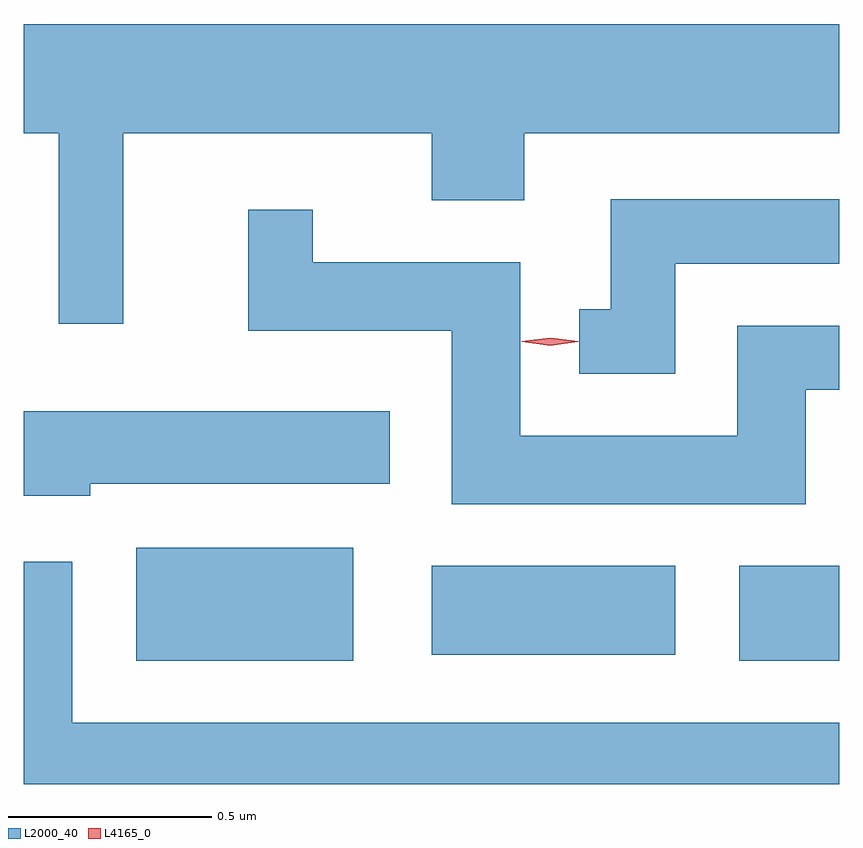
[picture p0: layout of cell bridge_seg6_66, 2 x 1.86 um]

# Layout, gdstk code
import gdstk
lib = gdstk.Library(unit=1e-6, precision=1e-09)
def R(c, l, rs):  # rectangles x0, y0, x1, y1
    for r in rs: c.add(gdstk.rectangle(r[:2], r[2:], *l))
def P(c, l, *ps):  # polygons
    for p in ps: c.add(gdstk.Polygon(p, *l))
L2000_40 = (2000, 40)
L4165_0 = (4165, 0)

bridge_seg6_66 = lib.new_cell('bridge_seg6_66')
R(bridge_seg6_66, L2000_40, [(1240.536,1641.981,1241.069,1642.259), (1242.016,1641.981,1242.261,1642.214), (1241.261,1641.996,1241.859,1642.214)])
P(bridge_seg6_66, L2000_40, [(1240.504,1643.276),(1241.261,1643.276),(1241.261,1643.111),(1241.489,1643.111),(1241.489,1643.276),(1242.261,1643.276),(1242.261,1643.544),(1240.261,1643.544),(1240.261,1643.276),(1240.346,1643.276),(1240.346,1642.808),(1240.504,1642.808)],
  [(1241.859,1642.956),(1242.261,1642.956),(1242.261,1643.114),(1241.701,1643.114),(1241.701,1642.844),(1241.623,1642.844),(1241.623,1642.686),(1241.859,1642.686)],
  [(1242.179,1642.646),(1242.261,1642.646),(1242.261,1642.804),(1242.011,1642.804),(1242.011,1642.534),(1241.479,1642.534),(1241.479,1642.959),(1240.969,1642.959),(1240.969,1643.088),(1240.811,1643.088),(1240.811,1642.791),(1241.311,1642.791),(1241.311,1642.366),(1242.179,1642.366)],
  [(1240.424,1642.416),(1241.159,1642.416),(1241.159,1642.594),(1240.261,1642.594),(1240.261,1642.386),(1240.424,1642.386)],
  [(1242.261,1641.829),(1240.379,1641.829),(1240.379,1642.224),(1240.261,1642.224),(1240.261,1641.679),(1242.261,1641.679)])
P(bridge_seg6_66, L4165_0, [(1241.552,1642.755),(1241.482,1642.764),(1241.482,1642.764),(1241.482,1642.765),(1241.552,1642.774),(1241.621,1642.765),(1241.621,1642.765),(1241.621,1642.764)])

lib.write_gds('bridge_seg6_66.gds')
